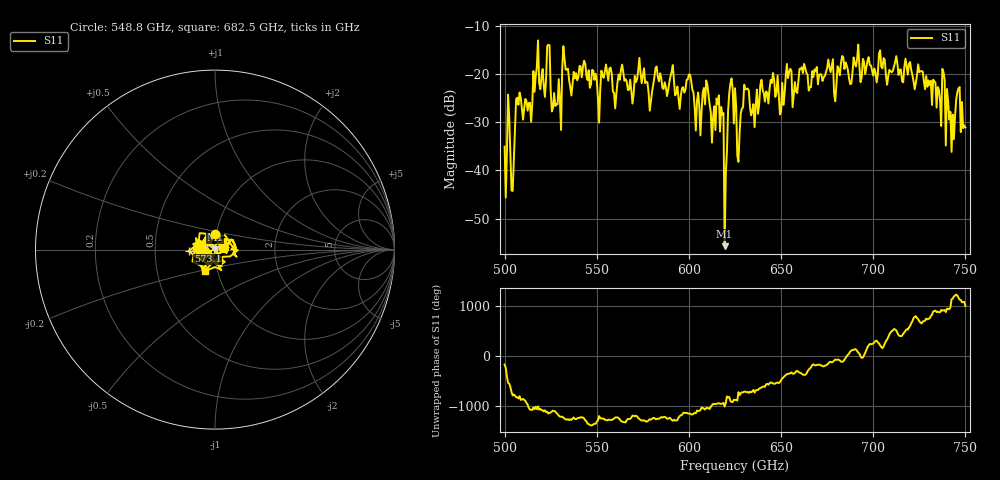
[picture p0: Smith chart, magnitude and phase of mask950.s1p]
!Created with skrf (http://scikit-rf.org).
# GHz S MA R 50.0
!freq magS11 angS11
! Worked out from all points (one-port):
!   401 points, 500 GHz to 750 GHz, reference 50 ohm
!   lowest |S11| = -55.7 dB at 619.4 GHz (marker M1), VSWR 1.00, Z = 50.1 + j0.156 ohm
!   |S11| at or under -10 dB: start of sweep to end of sweep
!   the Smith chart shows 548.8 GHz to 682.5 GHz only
!   S11 on the Smith chart (normalised r, x): 548.8 GHz: 0.98, +0.17; 573.1 GHz: 0.74, -0.01; 682.5 GHz: 0.88, -0.21
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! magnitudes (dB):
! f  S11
! 500 GHz  -35.1
! 504.4 GHz  -44.3
! 507.5 GHz  -26.4
! 513.8 GHz  -25.9
! 516.9 GHz  -20.4
! 523.8 GHz  -13.9
! 526.9 GHz  -23.9
! 531.2 GHz  -18.9
! 548.8 GHz  -21.2
! 562.5 GHz  -21.2
! 573.1 GHz  -16.6
! 593.8 GHz  -22.6
! 616.2 GHz  -24.4
! 619.4 GHz  -55.7
! 620.6 GHz  -36.0
! 622.5 GHz  -22.0
! 625 GHz  -22.9
! 627.5 GHz  -32.2
! 631.2 GHz  -23.1
! 634.4 GHz  -27.7
! 656.2 GHz  -26.9
! 682.5 GHz  -17.7
! 687.5 GHz  -22.1
! 718.8 GHz  -20.1
! 738.8 GHz  -21.3
! 742.5 GHz  -36.1
! 745.6 GHz  -23.8
! 750 GHz  -31.1
